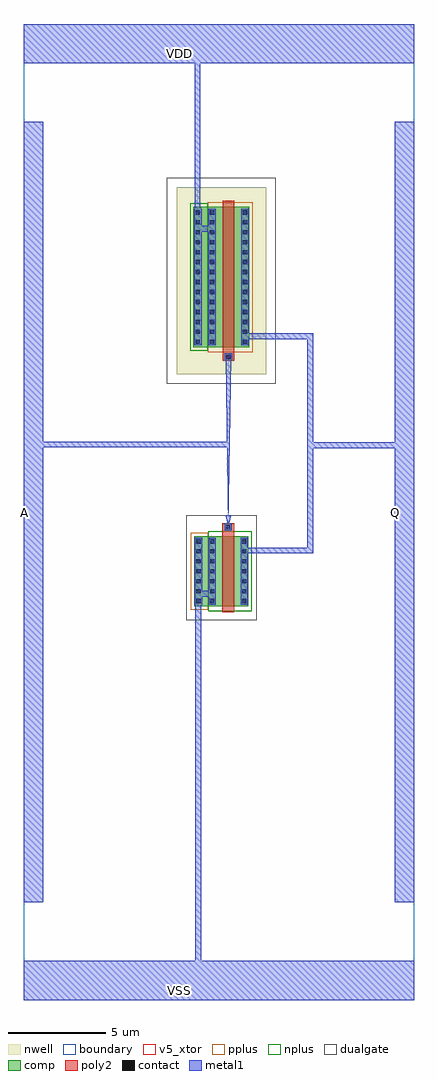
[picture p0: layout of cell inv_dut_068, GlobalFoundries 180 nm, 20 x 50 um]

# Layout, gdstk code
from math import pi, radians
import gdstk
lib = gdstk.Library(unit=1e-6, precision=1e-09)
def R(c, l, rs):  # rectangles x0, y0, x1, y1
    for r in rs: c.add(gdstk.rectangle(r[:2], r[2:], *l))
def A(c, l, x, y, w, h, nx, ny, dx, dy):  # array of equal rectangles
    R(c, l, [(x+i*dx, y+j*dy, x+i*dx+w, y+j*dy+h) for i in range(nx) for j in range(ny)])
boundary = (0, 0)
nwell = (21, 0)
comp = (22, 0)
poly2 = (30, 0)
pplus = (31, 0)
nplus = (32, 0)
contact = (33, 0)
metal1 = (34, 0)
dualgate = (55, 0)
v5_xtor = (112, 1)

nfet = lib.new_cell('nfet')
R(nfet, comp, [(-0.42,0,2.35,3.6)])
R(nfet, poly2, [(0.31,-0.3,0.91,4.26)])
R(nfet, pplus, [(1.64,-0.17,2.52,3.77)])
R(nfet, nplus, [(-0.59,-0.24,1.64,3.84)])
A(nfet, contact, -0.32, 0.16, 0.22, 0.22, 1, 7, 0, 0.51)
A(nfet, contact, 1.32, 0.16, 0.22, 0.22, 1, 7, 0, 0.51)
A(nfet, contact, 2.03, 0.16, 0.22, 0.22, 1, 7, 0, 0.51)
R(nfet, contact, [(0.5,3.97,0.72,4.19)])
R(nfet, metal1, [(-0.4,0.08,-0.02,3.52), (1.24,0.08,1.62,3.52), (1.95,0.08,2.33,3.52), (0.42,3.89,0.8,4.27)])
R(nfet, dualgate, [(-0.84,-0.71,2.77,4.68)])
R(nfet, v5_xtor, [(-0.84,-0.71,2.77,4.68)])

pfet = lib.new_cell('pfet')
R(pfet, nwell, [(-1.32,-1.37,3.27,8.19)])
R(pfet, comp, [(-0.46,0,2.41,7.2)])
R(pfet, poly2, [(0.31,-0.68,0.91,7.5)])
R(pfet, pplus, [(-0.63,-0.24,1.68,7.44)])
R(pfet, nplus, [(1.68,-0.17,2.58,7.37)])
A(pfet, contact, -0.34, 0.175, 0.22, 0.22, 1, 14, 0, 0.51)
A(pfet, contact, 1.34, 0.175, 0.22, 0.22, 1, 14, 0, 0.51)
A(pfet, contact, 2.07, 0.175, 0.22, 0.22, 1, 14, 0, 0.51)
R(pfet, contact, [(0.5,-0.6,0.72,-0.38)])
R(pfet, metal1, [(0.42,-0.68,0.8,-0.3), (-0.42,0.095,-0.04,7.105), (1.26,0.095,1.64,7.105), (1.99,0.095,2.37,7.105)])
R(pfet, dualgate, [(-1.82,-1.87,3.77,8.69)])
R(pfet, v5_xtor, [(-1.82,-1.87,3.77,8.69)])

inv_dut_068 = lib.new_cell('inv_dut_068')
R(inv_dut_068, boundary, [(-10,-25,10,25)])
R(inv_dut_068, metal1, [(-10,-25,10,-23), (-10,-20,-9,20), (9,-20,10,20), (-10,23,10,25)])
inv_dut_068.add(gdstk.FlexPath([(0.485,7.945),(0.485,-0.775),(0.485,-0.175)], 0.3, ends="flush", simple_path=True, layer=34, datatype=0))  # metal1
inv_dut_068.add(gdstk.FlexPath([(0.485,3.46),(-9.495,3.46),(-9.495,3.365)], 0.3, ends="flush", simple_path=True, layer=34, datatype=0))  # metal1
inv_dut_068.add(gdstk.FlexPath([(-1.07,-4.59),(-1.07,-23.355),(-1.16,-23.355)], 0.3, ends="flush", simple_path=True, layer=34, datatype=0))  # metal1
inv_dut_068.add(gdstk.FlexPath([(-0.315,-4.185),(-1.055,-4.185)], 0.3, ends="flush", simple_path=True, layer=34, datatype=0))  # metal1
inv_dut_068.add(gdstk.FlexPath([(1.32,9.005),(4.68,9.005),(4.68,-1.97),(1.3,-1.97),(1.3,-2.06),(1.105,-2.06)], 0.3, ends="flush", simple_path=True, layer=34, datatype=0))  # metal1
inv_dut_068.add(gdstk.FlexPath([(4.625,3.425),(9.355,3.425),(9.355,3.365)], 0.3, ends="flush", simple_path=True, layer=34, datatype=0))  # metal1
inv_dut_068.add(gdstk.FlexPath([(-0.375,14.515),(-1.085,14.515)], 0.3, ends="flush", simple_path=True, layer=34, datatype=0))  # metal1
inv_dut_068.add(gdstk.FlexPath([(-1.1,15.28),(-1.1,23.305),(-1.048,23.357)], 0.3, ends="flush", simple_path=True, layer=34, datatype=0))  # metal1
inv_dut_068.add(gdstk.Reference(nfet, (1.085,-4.835), rotation=pi, x_reflection=True))
inv_dut_068.add(gdstk.Reference(pfet, (1.095,8.435), rotation=pi, x_reflection=True))
inv_dut_068.add(gdstk.Label('VDD', (-2,23.5), layer=34, texttype=10))
inv_dut_068.add(gdstk.Label('VSS', (-2,-24.5), layer=34, texttype=10))
inv_dut_068.add(gdstk.Label('A', (-9.97,0), layer=34, texttype=10))
inv_dut_068.add(gdstk.Label('Q', (9.03,0), layer=34, texttype=10))

lib.write_gds('inv_dut_068.gds')
